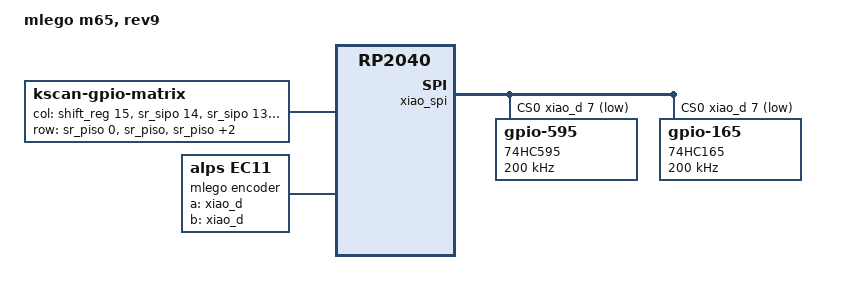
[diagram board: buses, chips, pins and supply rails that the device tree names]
/*
 * Copyright (c) 2022-2023 alin m elena
 * SPDX-License-Identifier: MIT
 */

#include <dt-bindings/zmk/matrix_transform.h>
//#include <dt-bindings/led/led.h>

/ {
   model = "mlego m65, rev9";
   compatible = "mlego", "seeduino,xiao_rp2040";

   chosen {
     zmk,kscan = &kscan;
/*
     zmk,led-widgets-dev = &leds_i;
     zmk,led-capslock = &led_capslock;
*/ 
  };

   kscan: kscan {
     compatible = "zmk,kscan-gpio-matrix";
     label = "kscan";
     diode-direction = "col2row";
     col-gpios = <&shift_reg 15 (GPIO_ACTIVE_HIGH)>
                 , <&sr_sipo 14 (GPIO_ACTIVE_HIGH)>
                 , <&sr_sipo 13 (GPIO_ACTIVE_HIGH)>
                 , <&sr_sipo 12 (GPIO_ACTIVE_HIGH)>
                 , <&sr_sipo 11 (GPIO_ACTIVE_HIGH)>
                 , <&sr_sipo 10 (GPIO_ACTIVE_HIGH)>
                 , <&sr_sipo 9 (GPIO_ACTIVE_HIGH)>
                 , <&sr_sipo 8 (GPIO_ACTIVE_HIGH)>
                 , <&sr_sipo 7 (GPIO_ACTIVE_HIGH)>
                 , <&sr_sipo 6 (GPIO_ACTIVE_HIGH)>
                 , <&sr_sipo 5 (GPIO_ACTIVE_HIGH)>
                 , <&sr_sipo 4 (GPIO_ACTIVE_HIGH)>
                 , <&sr_sipo 0 (GPIO_ACTIVE_HIGH)>
                 ;
     row-gpios = <&sr_piso 0 (GPIO_ACTIVE_HIGH)>
                 ,<&sr_piso 1(GPIO_ACTIVE_HIGH)>
                 ,<&sr_piso 2(GPIO_ACTIVE_HIGH)>
                 ,<&sr_piso 3(GPIO_ACTIVE_HIGH)>
                 ,<&sr_piso 4(GPIO_ACTIVE_HIGH)>
                 ;
   };

   mlego_encoder: mlego_encoder {
     compatible = "alps,ec11";
     label = "mlego encoder";
     a-gpios = <&xiao_d 5(GPIO_ACTIVE_HIGH | GPIO_PULL_UP)>;
     b-gpios = <&xiao_d 6(GPIO_ACTIVE_HIGH | GPIO_PULL_UP)>;
     resolution = <4>;
   };
   sensors {
     compatible = "zmk,keymap-sensors";
     sensors = <&mlego_encoder>;
   };
};

&mlego_encoder { 
  status = "okay"; 
};

&xiao_spi {
  status = "okay";

  cs-gpios = <&xiao_d 7 GPIO_ACTIVE_LOW>, <&xiao_d 6 GPIO_ACTIVE_HIGH>;
  sr_sipo: 595@0 {
    compatible = "zmk,gpio-595";
    status = "okay";
    gpio-controller;
    spi-max-frequency = <200000>;
    #gpio-cells = <2>;
    reg = <0>;
    label = "74HC595";
    ngpios = <16>;
  };
  sr_piso: 165@0 {
    compatible = "zmk,gpio-165";
    status = "okay";
    gpio-controller;
    spi-max-frequency = <200000>;
    #gpio-cells = <1>;
    reg = <0>;
    label = "74HC165";
    ngpios = <8>;
  }; 
};
